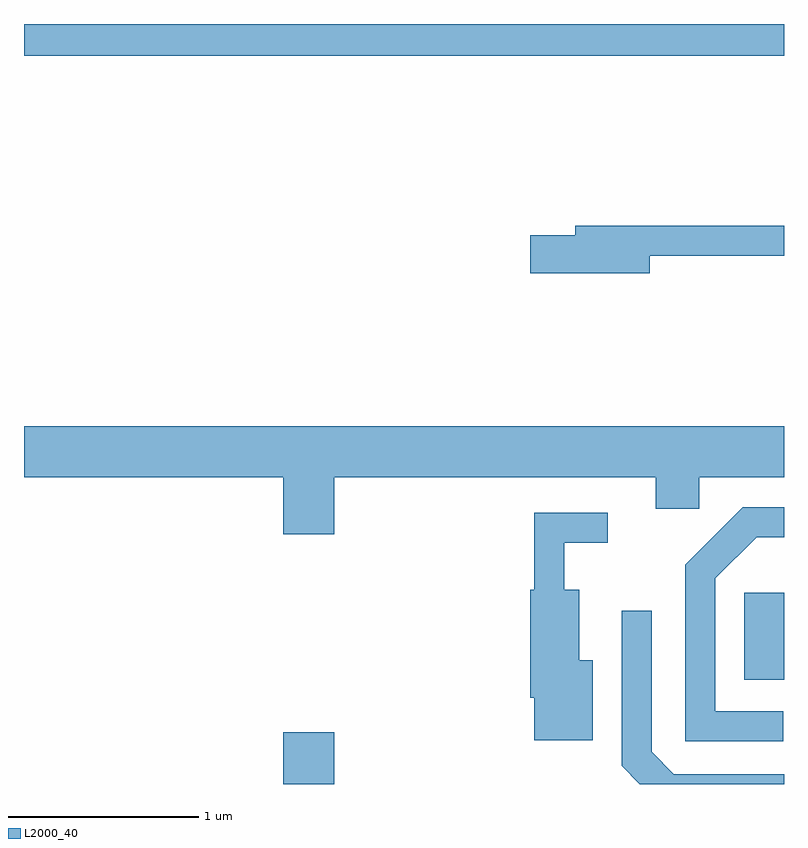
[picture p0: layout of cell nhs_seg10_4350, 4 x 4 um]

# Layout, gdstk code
import gdstk
lib = gdstk.Library(unit=1e-6, precision=1e-09)
def R(c, l, rs):  # rectangles x0, y0, x1, y1
    for r in rs: c.add(gdstk.rectangle(r[:2], r[2:], *l))
def P(c, l, *ps):  # polygons
    for p in ps: c.add(gdstk.Polygon(p, *l))
L2000_40 = (2000, 40)

nhs_seg10_4350 = lib.new_cell('nhs_seg10_4350')
R(nhs_seg10_4350, L2000_40, [(314.976,2114.522,315.244,2114.794), (317.401,2115.071,317.611,2115.529), (313.611,2118.356,317.611,2118.522)])
P(nhs_seg10_4350, L2000_40, [(316.904,2117.301),(317.611,2117.301),(317.611,2117.459),(316.511,2117.459),(316.511,2117.409),(316.276,2117.409),(316.276,2117.211),(316.904,2117.211)],
  [(315.244,2116.136),(316.936,2116.136),(316.936,2115.971),(317.164,2115.971),(317.164,2116.136),(317.611,2116.136),(317.611,2116.404),(313.611,2116.404),(313.611,2116.136),(314.976,2116.136),(314.976,2115.836),(315.244,2115.836)],
  [(317.608,2114.904),(317.249,2114.904),(317.249,2115.604),(317.467,2115.821),(317.611,2115.821),(317.611,2115.979),(317.394,2115.979),(317.091,2115.677),(317.091,2114.746),(317.608,2114.746)],
  [(316.604,2115.174),(316.534,2115.174),(316.534,2115.544),(316.454,2115.544),(316.454,2115.791),(316.683,2115.791),(316.683,2115.949),(316.296,2115.949),(316.296,2115.544),(316.276,2115.544),(316.276,2114.976),(316.296,2114.976),(316.296,2114.751),(316.604,2114.751)],
  [(317.611,2114.574),(317.032,2114.574),(316.914,2114.692),(316.914,2115.433),(316.756,2115.433),(316.756,2114.619),(316.853,2114.522),(317.611,2114.522)])

lib.write_gds('nhs_seg10_4350.gds')
